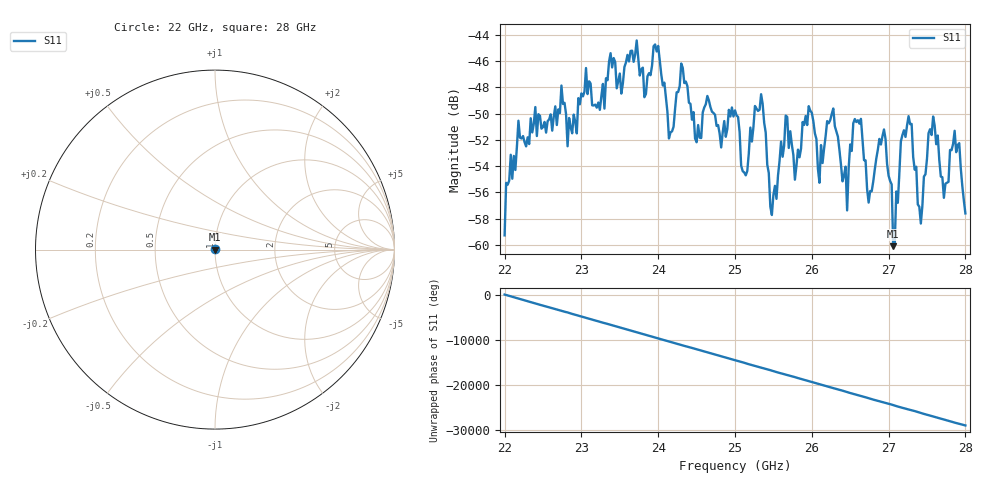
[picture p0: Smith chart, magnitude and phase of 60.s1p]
#  HZ  S  RI  R  50.00
! Rohde & Schwarz ZVA40 4Ports - Version 3.90 - 1145.1110k42 SN: 100403
! Date: 2023-10-04 06:31:44
! Measurement: S12
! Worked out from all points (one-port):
!   301 points, 22 GHz to 28 GHz, reference 50 ohm
!   lowest |S11| = -60.1 dB at 27.06 GHz (marker M1), VSWR 1.00, Z = 50.1 - j0.0475 ohm
!   |S11| at or under -10 dB: start of sweep to end of sweep
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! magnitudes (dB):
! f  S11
! 22 GHz  -59.3
! 22.18 GHz  -50.5
! 22.76 GHz  -49.3
! 23.5 GHz  -46.9
! 24 GHz  -44.8
! 24.14 GHz  -51.9
! 24.26 GHz  -48.4
! 25 GHz  -49.8
! 25.14 GHz  -54.7
! 25.34 GHz  -48.5
! 25.48 GHz  -57.7
! 25.66 GHz  -50.2
! 25.76 GHz  -53.1
! 25.96 GHz  -49.4
! 26.1 GHz  -55.3
! 26.28 GHz  -49.6
! 26.46 GHz  -57.4
! 26.5 GHz  -52.3
! 26.64 GHz  -50.4
! 26.74 GHz  -56.8
! 26.94 GHz  -51.2
! 27.06 GHz  -60.1
! 27.26 GHz  -50.2
! 27.42 GHz  -58.4
! 27.58 GHz  -50.2
! 27.72 GHz  -56.4
! 27.92 GHz  -52.2
! 28 GHz  -57.6
